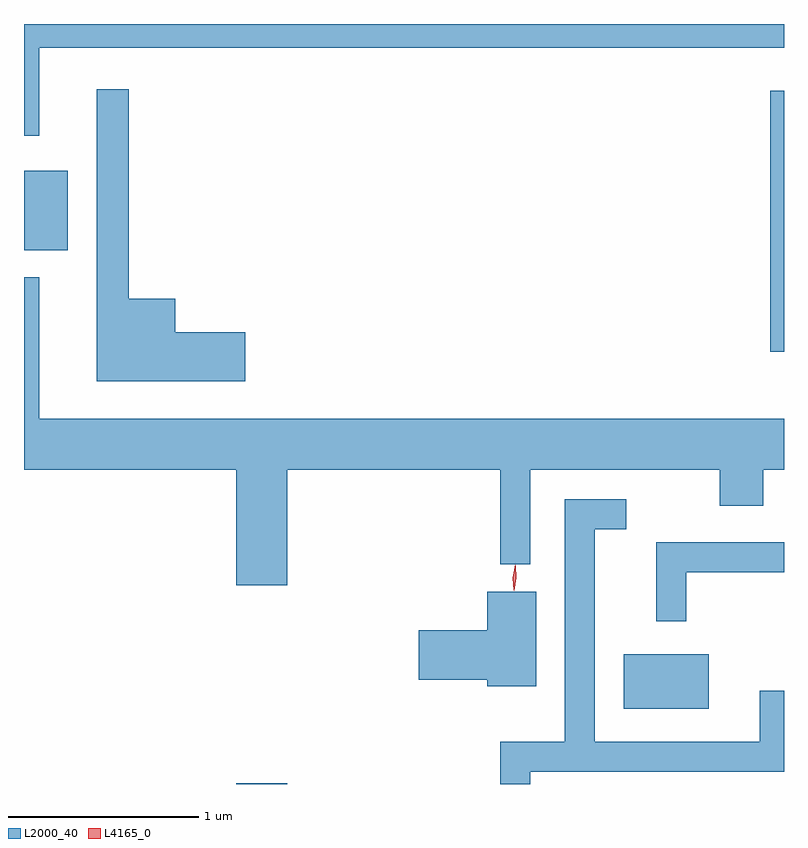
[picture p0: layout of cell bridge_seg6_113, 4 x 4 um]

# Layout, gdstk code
import gdstk
lib = gdstk.Library(unit=1e-6, precision=1e-09)
def R(c, l, rs):  # rectangles x0, y0, x1, y1
    for r in rs: c.add(gdstk.rectangle(r[:2], r[2:], *l))
def P(c, l, *ps):  # polygons
    for p in ps: c.add(gdstk.Polygon(p, *l))
L2000_40 = (2000, 40)
L4165_0 = (4165, 0)

bridge_seg6_113 = lib.new_cell('bridge_seg6_113')
R(bridge_seg6_113, L2000_40, [(1134.156,1606.101,1134.424,1606.104), (1136.196,1606.496,1136.644,1606.784), (1136.966,1608.376,1137.039,1609.749), (1133.039,1608.911,1133.269,1609.329)])
P(bridge_seg6_113, L2000_40, [(1133.119,1609.976),(1137.039,1609.976),(1137.039,1610.101),(1133.039,1610.101),(1133.039,1609.513),(1133.119,1609.513)],
  [(1134.204,1608.479),(1133.834,1608.479),(1133.834,1608.654),(1133.589,1608.654),(1133.589,1609.758),(1133.421,1609.758),(1133.421,1608.221),(1134.204,1608.221)],
  [(1134.424,1607.756),(1135.546,1607.756),(1135.546,1607.258),(1135.704,1607.258),(1135.704,1607.756),(1136.701,1607.756),(1136.701,1607.566),(1136.929,1607.566),(1136.929,1607.756),(1137.039,1607.756),(1137.039,1608.024),(1133.119,1608.024),(1133.119,1608.768),(1133.039,1608.768),(1133.039,1607.756),(1134.156,1607.756),(1134.156,1607.146),(1134.424,1607.146)],
  [(1135.704,1606.166),(1137.039,1606.166),(1137.039,1606.593),(1136.911,1606.593),(1136.911,1606.324),(1136.044,1606.324),(1136.044,1607.441),(1136.208,1607.441),(1136.208,1607.599),(1135.886,1607.599),(1135.886,1606.324),(1135.546,1606.324),(1135.546,1606.101),(1135.704,1606.101)],
  [(1136.524,1607.216),(1137.039,1607.216),(1137.039,1607.374),(1136.366,1607.374),(1136.366,1606.958),(1136.524,1606.958)],
  [(1135.734,1607.114),(1135.476,1607.114),(1135.476,1606.909),(1135.116,1606.909),(1135.116,1606.651),(1135.476,1606.651),(1135.476,1606.616),(1135.734,1606.616)])
P(bridge_seg6_113, L4165_0, [(1135.618,1607.118),(1135.618,1607.118),(1135.611,1607.187),(1135.624,1607.254),(1135.625,1607.255),(1135.625,1607.254),(1135.631,1607.186),(1135.618,1607.118)],
  [(1135.617,1607.121),(1135.617,1607.121),(1135.611,1607.187),(1135.624,1607.251),(1135.625,1607.252),(1135.626,1607.251),(1135.631,1607.186),(1135.618,1607.121)])

lib.write_gds('bridge_seg6_113.gds')
